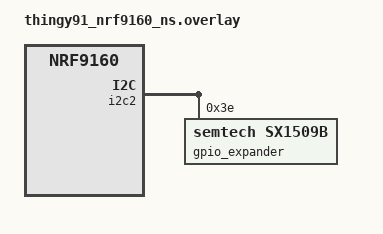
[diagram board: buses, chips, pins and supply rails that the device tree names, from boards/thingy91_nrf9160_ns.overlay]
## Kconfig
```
#
# Copyright (c) 2020 Nordic Semiconductor ASA
#
# SPDX-License-Identifier: LicenseRef-Nordic-5-Clause
#

menu "UDP Data Settings"

config UDP_DATA_UPLOAD_FREQUENCY_SECONDS
	int "How often data is transmitted to the server"
	default 900

config UDP_SERVER_ADDRESS_STATIC
	string "UDP server IP address"
	default "8.8.8.8"

config UDP_SERVER_PORT
	int "UDP server port number"
	default "2469"

config UDP_PSM_ENABLE
	bool "Enable LTE Power Saving Mode"
	default y

config UDP_EDRX_ENABLE
	bool "Enable LTE enhanced Discontinuous Reception"

config UDP_RAI_ENABLE
	bool "Enable LTE Release Assistance Indication"

endmenu

menu "GPIO Settings"
config GPIO_POLL_FREQUENCY_SECONDS
	int "How often data are polled from GPIO Expander"
	default 5
endmenu

menu "Sensor UI Module"
rsource "src/ui/Kconfig"
endmenu

module = UDP
module-str = UDP sample
source "${ZEPHYR_BASE}/subsys/logging/Kconfig.template.log_config"

menu "Zephyr Kernel"
source "Kconfig.zephyr"
endmenu
```

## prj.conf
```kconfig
#
# Copyright (c) 2020 Nordic Semiconductor ASA
#
# SPDX-License-Identifier: LicenseRef-Nordic-5-Clause
#

# General config
CONFIG_NEWLIB_LIBC=y
CONFIG_NEWLIB_LIBC_FLOAT_PRINTF=y
CONFIG_NCS_SAMPLES_DEFAULTS=y
CONFIG_SERIAL=y
CONFIG_ASSERT=n

# Network
CONFIG_NETWORKING=y
CONFIG_NET_NATIVE=n
CONFIG_NET_SOCKETS=y
CONFIG_NET_SOCKETS_OFFLOAD=y

# LTE link control
CONFIG_LTE_LINK_CONTROL=y
CONFIG_LTE_AUTO_INIT_AND_CONNECT=n

# Modem libraries to include
CONFIG_NRF_MODEM_LIB=y
CONFIG_AT_HOST_LIBRARY=y
CONFIG_MODEM_INFO=y

# Heap and stacks
CONFIG_HEAP_MEM_POOL_SIZE=1024
CONFIG_MAIN_STACK_SIZE=4096
CONFIG_SYSTEM_WORKQUEUE_STACK_SIZE=2048

# LTE parameters
## Network Mode / LTE category
CONFIG_LTE_NETWORK_MODE_NBIOT=y
CONFIG_LTE_NETWORK_MODE_LTE_M=n

## PSM
CONFIG_UDP_PSM_ENABLE=y
# RPTAU=001|00001 => 1h * 3 => 3h
CONFIG_LTE_PSM_REQ_RPTAU="00100011"
# RAT=000|00001 => 2s * 3 => 6s
CONFIG_LTE_PSM_REQ_RAT="00000011"

## eDRX
CONFIG_UDP_EDRX_ENABLE=n
# PTW=0001 => 5.12s
CONFIG_LTE_PTW_VALUE_NBIOT="0001"
# EDRX=0001 => 10.24s
CONFIG_LTE_EDRX_REQ_VALUE_NBIOT="0001"

## RAI
CONFIG_UDP_RAI_ENABLE=n
CONFIG_LTE_RAI_REQ_VALUE="4"

# UDP Data
CONFIG_UDP_SERVER_ADDRESS_STATIC="172.27.131.100"
CONFIG_UDP_SERVER_PORT=15683
CONFIG_UDP_DATA_UPLOAD_FREQUENCY_SECONDS=60

# GPIO
CONFIG_GPIO_POLL_FREQUENCY_SECONDS=1

# Enable Zephyr Sensor Libraries
CONFIG_I2C=y
CONFIG_SENSOR=y
CONFIG_BME680=y
CONFIG_DK_LIBRARY=y

# UI Config Settings
CONFIG_UI_BUZZER=y
CONFIG_UI_BUZZER_PWM_DEV_NAME="PWM_1"
CONFIG_UI_BUZZER_PIN=28
CONFIG_UI_BUZZER_MIN_FREQUENCY=100
CONFIG_UI_BUZZER_MAX_FREQUENCY=10000

CONFIG_UI_LED_USE_PWM=y
```

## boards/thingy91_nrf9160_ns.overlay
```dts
&i2c2 {
	gpio@3E {
        compatible="semtech,sx1509b";
        reg=<0x3E>;
        label="gpio_expander";
        ngpios = < 16 >;
        #gpio-cells = < 2 >;
        gpio-controller;
    };
};
```

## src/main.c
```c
/*
 * Copyright (c) 2020 Nordic Semiconductor ASA
 *
 * SPDX-License-Identifier: LicenseRef-Nordic-5-Clause
 */

#include <zephyr.h>
#include <stdio.h>
#include <modem/lte_lc.h>	  // LTE link control
#include <nrf_modem_at.h>	  // includes AT command handling
#include <modem/modem_info.h> // includes modem info module
#include <net/socket.h>		  // includes TCP/IP socket handling
#include <device.h>			  // Zephyr device API
#include <drivers/sensor.h>	  // Zephyr sensor driver API
#include <drivers/gpio.h>
#include <sys_clock.h>

/* UI drivers for Thingy:91 */
#include "buzzer.h"
#include "ui.h"
#include "led_pwm.h"

/* Defines */
#define MODEM_APN "cdp.iot.t-mobile.nl"
#define TEMP_CALIBRATION_OFFSET 3
#define RECV_BUF_SIZE 2048
#define RCV_POLL_TIMEOUT_MS 1000 /* Milliseconds */

/* Sensor data */
const struct device *bme_680;
struct sensor_value temp, press, humidity, gas_res;
float pressure;

/* GPIO */
const struct device *sx1509b_dev;

#define GPIO_PIN_OPEN_ENDSTOP 15
#define GPIO_PIN_CLOSED_ENDSTOP 14
#define GPIO_PIN_RELAY 13

/* Ultrasonic */
#define GPIO_PIN_ULTRASONIC_TRIG 12
#define GPIO_PIN_ULTRASONIC_ECHO 11

/* UDP Socket */
static int client_fd;
static bool socket_init = false;
static bool socket_open = false;
static struct sockaddr_storage host_addr;

/* Workqueues */
static struct k_work_delayable server_transmission_work;
static struct k_work_delayable data_fetch_work;
static struct k_work_delayable data_poll_work;
static struct k_work_delayable gpio_fetch_work;

/* Garage Door state */
#define GARAGE_DOOR_OPENING 1
#define GARAGE_DOOR_OPEN 2
#define GARAGE_DOOR_CLOSING 3
#define GARAGE_DOOR_CLOSED 4
#define GARAGE_DOOR_STALLED 5
#define GARAGE_DOOR_FAILED -1
static int garage_door_state = GARAGE_DOOR_STALLED;
static int garage_door_prev_state = GARAGE_DOOR_STALLED;
static int garage_door_seconds_since_last_certain_state = 0;
#define GARAGE_DOOR_MAX_MOVE_TIME 25 // how many periods (CONFIG_GPIO_POLL_FREQUENCY_SECONDS) has to pass

/* Car presence */
#define CAR_PRESENCE_TRESHOLD 120
#define CAR_PRESENCE_YES 1
#define CAR_PRESENCE_NO 0
#define CAR_PRESENCE_FAILED -1
static int car_presence_state = CAR_PRESENCE_FAILED;
static int car_presence_prev_state = CAR_PRESENCE_FAILED;

K_SEM_DEFINE(lte_connected, 0, 1);
struct modem_param_info modem_param;

static char recv_buf[RECV_BUF_SIZE];

static int server_init(void)
{
	struct sockaddr_in *server4 = ((struct sockaddr_in *)&host_addr);

	server4->sin_family = AF_INET;
	server4->sin_port = htons(CONFIG_UDP_SERVER_PORT);

	inet_pton(AF_INET, CONFIG_UDP_SERVER_ADDRESS_STATIC,
			  &server4->sin_addr);

	socket_init = true;
	return 0;
}

static void server_disconnect(void)
{
	socket_open = false;
	(void)close(client_fd);
}

static int server_connect(void)
{
	int err;

	client_fd = socket(AF_INET, SOCK_DGRAM, IPPROTO_UDP);
	if (client_fd < 0)
	{
		ui_led_set_effect(UI_LED_ERROR_CLOUD);
		printk("[ERROR] Failed to create UDP socket: %d\n", errno);
		err = -errno;
		goto error;
	}

	err = connect(client_fd, (struct sockaddr *)&host_addr,
				  sizeof(struct sockaddr_in));
	if (err < 0)
	{
		ui_led_set_effect(UI_LED_ERROR_CLOUD);
		printk("[ERROR] Connect failed : %d\n", errno);
		goto error;
	}
	socket_open = true;
	return 0;

error:
	server_disconnect();

	return err;
}

static bool server_reconnect(void)
{
	printk("[INFO] Reconnecting to UDP server\n");
	server_disconnect();

	int err = server_connect();
	if (err)
	{
		ui_led_set_effect(UI_LED_ERROR_CLOUD);
		printk("[ERROR] Not able to reconnect to UDP server\n");
		return false;
	}
	return true;
}

static void transmit_udp_data(char *data, size_t len)
{
	int err;
	if (data != NULL)
	{
		printk("[INFO] Sending UDP payload, length: %u, data: %s\n", len, data);
		err = send(client_fd, data, len, 0);
		if (err == -ENOTCONN && server_reconnect())
		{
			err = send(client_fd, data, len, 0);
		}

		if (err < 0)
		{
			ui_led_set_effect(UI_LED_ERROR_CLOUD);
			printk("[ERROR] Failed to transmit UDP packet, %d\n", errno);
		}
	}
}

/*
 * *** Static functions of main.c ***
 */
static void fetch_sensor_data(void)
{
	sensor_sample_fetch(bme_680);
	sensor_channel_get(bme_680, SENSOR_CHAN_AMBIENT_TEMP, &temp);
	sensor_channel_get(bme_680, SENSOR_CHAN_PRESS, &press);
	sensor_channel_get(bme_680, SENSOR_CHAN_HUMIDITY, &humidity);
	sensor_channel_get(bme_680, SENSOR_CHAN_GAS_RES, &gas_res);

	/* apply calibration offsets */
	temp.val1 = temp.val1 - TEMP_CALIBRATION_OFFSET;

	/* Debug print raw sensor data from Zephyr API */
	// printk("[DEBUG] T: %d.%06d; P: %d.%06d; H: %d.%06d; G: %d.%06d\n",
	// 	temp.val1, temp.val2, press.val1, press.val2,
	// 	humidity.val1, humidity.val2, gas_res.val1,
	// 	gas_res.val2);

	/* format data, shrink factional part length of sensor_value to 2 digits */
	temp.val2 = temp.val2 / 10000;
	humidity.val2 = humidity.val2 / 10000;

	/* convert pressure in Bar - sensor_value struct stores 2 integers (dec + fraction) */
	pressure = (float)press.val1 + (float)press.val2 / 1000000; // reformat to float for conversion
	pressure = pressure / 100;									// convert in Bar, but skip storing back into integer parts
}

static void fetch_ultrasonic_data(void)
{
	uint32_t cycles_spent;
	uint32_t val;
	uint32_t stop_time;
	uint32_t start_time;
	uint32_t iter = 0;
	int distance;

	car_presence_prev_state = car_presence_state;

	gpio_pin_set(sx1509b_dev, GPIO_PIN_ULTRASONIC_TRIG, 1);
	k_sleep(K_MSEC(10));
	gpio_pin_set(sx1509b_dev, GPIO_PIN_ULTRASONIC_TRIG, 0);

	do
	{
		iter++;
		val = gpio_pin_get(sx1509b_dev, GPIO_PIN_ULTRASONIC_ECHO);
	} while (val == 0 && iter < 1000);

	if (iter >= 1000)
	{
		ui_led_set_effect(UI_LED_ERROR_UNKNOWN);
		printk("[ERROR] No reponse from HC-SR04\n");
		car_presence_state = CAR_PRESENCE_FAILED;
		return;
	}

	start_time = k_cycle_get_32();

	do
	{
		val = gpio_pin_get(sx1509b_dev, GPIO_PIN_ULTRASONIC_ECHO);
		stop_time = k_cycle_get_32();
		cycles_spent = stop_time - start_time;
		if (cycles_spent > 5000)
		{
			ui_led_set_effect(UI_LED_ERROR_UNKNOWN);
			printk("[ERROR] No reponse from HC-SR04\n");
			car_presence_state = CAR_PRESENCE_FAILED;
			return;
		}
	} while (val == 1);

	distance = SYS_CLOCK_HW_CYCLES_TO_NS_AVG(cycles_spent, 58000); // in centimeters
	car_presence_state = distance > CAR_PRESENCE_TRESHOLD ? CAR_PRESENCE_NO : CAR_PRESENCE_YES;

	if (car_presence_state != car_presence_prev_state)
	{
		printk("[DEBUG] car_presence_state has changed from %d to %d (distance=%d)\n",
			   car_presence_prev_state, car_presence_state, distance);

		/* Transmit garage via UDP Socket  */
		char data_output[128];
		sprintf(data_output, "{\"Car\":%d}", car_presence_state);
		transmit_udp_data(data_output, strlen(data_output));
	}
}

static void fetch_gpio_data(void)
{
	garage_door_prev_state = garage_door_state;

	int open_endstop_state = gpio_pin_get(sx1509b_dev, GPIO_PIN_OPEN_ENDSTOP);
	int closed_endstop_state = gpio_pin_get(sx1509b_dev, GPIO_PIN_CLOSED_ENDSTOP);

	if (open_endstop_state < 0 || closed_endstop_state < 0)
	{
		ui_led_set_effect(UI_LED_ERROR_UNKNOWN);
		printk("[ERROR] gpio_pin_get for sx1509b_dev failed\n");
		garage_door_state = GARAGE_DOOR_FAILED;
		return;
	}

	// printk("[DEBUG] open_endstop: %d, closed_endstop: %d\n",
	//	   open_endstop_state, closed_endstop_state);

	if (open_endstop_state == 1 && closed_endstop_state == 0)
	{
		garage_door_state = GARAGE_DOOR_OPEN;
		garage_door_seconds_since_last_certain_state = 0;
	}
	else if (open_endstop_state == 0 && closed_endstop_state == 1)
	{
		garage_door_state = GARAGE_DOOR_CLOSED;
		garage_door_seconds_since_last_certain_state = 0;
	}
	else if (open_endstop_state == 0 && closed_endstop_state == 0)
	{
		garage_door_seconds_since_last_certain_state += 1;
		if (garage_door_seconds_since_last_certain_state > GARAGE_DOOR_MAX_MOVE_TIME)
		{
			garage_door_state = GARAGE_DOOR_STALLED;
		}
		else
		{
			if (garage_door_prev_state == GARAGE_DOOR_OPEN || garage_door_prev_state == GARAGE_DOOR_CLOSING)
			{
				garage_door_state = GARAGE_DOOR_CLOSING;
			}
			else if (garage_door_prev_state == GARAGE_DOOR_CLOSED || garage_door_prev_state == GARAGE_DOOR_OPENING)
			{
				garage_door_state = GARAGE_DOOR_OPENING;
			}
		}
	}
	else
	{
		// open and close at the same time - impossible
		garage_door_state = GARAGE_DOOR_FAILED;
	}

	if (garage_door_state != garage_door_prev_state)
	{
		printk("[DEBUG] garage_door_state has changed from %d to %d\n",
			   garage_door_prev_state, garage_door_state);

		/* Transmit garage via UDP Socket  */
		char data_output[128];
		sprintf(data_output, "{\"Door\":%d}", garage_door_state);
		transmit_udp_data(data_output, strlen(data_output));
	}
}

static void click_garage_door_relay(void)
{
	printk("[DEBUG] garage door relay ON\n");
	gpio_pin_set(sx1509b_dev, GPIO_PIN_RELAY, 1);
	k_sleep(K_MSEC(500));
	printk("[DEBUG] garage door relay OFF\n");
	gpio_pin_set(sx1509b_dev, GPIO_PIN_RELAY, 0);
}

static int receive_udp_data(char *buf, int buf_size)
{
	int bytes;
	bytes = recv(client_fd, buf, buf_size, 0);
	if (bytes == -ENOTCONN && server_reconnect())
	{
		bytes = recv(client_fd, buf, buf_size, 0);
	}

	if (bytes < 0)
	{
		ui_led_set_effect(UI_LED_ERROR_CLOUD);
		printk("[ERROR] recv() failed, err %d\n", errno);
	}
	else if (bytes > 0)
	{
		// Make sure buf is NULL terminated (for safe use)
		if (bytes < buf_size)
		{
			buf[bytes] = '\0';
		}
		else
		{
			buf[buf_size - 1] = '\0';
		}
		printk("[DEBUG] Recived UDP data, length: %u, data: %s\n", bytes, buf);
		return bytes;
	}
	return 0;
}

/* Event Handler - used when pressing the button */
static void ui_evt_handler(struct ui_evt evt)
{
	if (evt.type == 1)
	{
		if (socket_open)
		{
			char data_output[128];
			sprintf(data_output, "{\"Door\":%d,\"Btn\":1}", garage_door_state);
			transmit_udp_data(data_output, strlen(data_output));
			click_garage_door_relay();
		}
	}
}

/* Event Handler - used when data received via UDP */
static void udp_evt_handler(char *buf)
{
	printk("[DEBUG] Handling UDP data, data: %s\n", buf);

	if (strcmp(buf, "garage-door-open") == 0)
	{
		if (garage_door_state == GARAGE_DOOR_CLOSED)
		{
			click_garage_door_relay();
		}
		else
		{
			printk("[WARN] Ignoring the open action because the garage door is not closed\n");
		}
	}
	else if (strcmp(buf, "garage-door-close") == 0)
	{
		if (garage_door_state == GARAGE_DOOR_OPEN)
		{
			click_garage_door_relay();
		}
		else
		{
			printk("[WARN] Ignoring the close action because the garage door is not open\n");
		}
	}
	else if (strcmp(buf, "garage-door-click") == 0)
	{
		click_garage_door_relay();
	}
}

static void data_fetch_work_fn(struct k_work *work)
{
	/* Update sensor + modem data */
	fetch_sensor_data();
	modem_info_params_get(&modem_param);

	/* Reschedule work task */
	k_work_schedule(&data_fetch_work, K_SECONDS(CONFIG_UDP_DATA_UPLOAD_FREQUENCY_SECONDS));
}

static void data_poll_work_fn(struct k_work *work)
{
	if (socket_open)
	{
		struct pollfd fds[1];
		int ret = 0;

		fds[0].fd = client_fd;
		fds[0].events = POLLIN;
		fds[0].revents = 0;

		printk("[DEBUG] Polling UDP socket\n");
		ret = poll(fds, 1, RCV_POLL_TIMEOUT_MS);
		if (ret == -ENOTCONN && server_reconnect())
		{
			ret = poll(fds, 1, RCV_POLL_TIMEOUT_MS);
		}

		if (ret > 0)
		{
			int bytes;
			bytes = receive_udp_data(recv_buf, RECV_BUF_SIZE);
			if (bytes > 0)
			{
				udp_evt_handler(recv_buf);
			}
		}
	}
}

static void gpio_fetch_work_fn(struct k_work *work)
{
	fetch_gpio_data();
	fetch_ultrasonic_data();

	/* Reschedule work task */
	k_work_schedule(&gpio_fetch_work, K_SECONDS(CONFIG_GPIO_POLL_FREQUENCY_SECONDS));
}

static void initial_data_transmission(void)
{
	/* Get current modem parameters */
	modem_info_params_get(&modem_param);
	char data_output[128];
	char imei[16];
	char operator[8];
	modem_info_string_get(MODEM_INFO_IMEI, imei, sizeof(imei));
	modem_info_string_get(MODEM_INFO_OPERATOR, operator, sizeof(operator));

	/* format to JSON */
	sprintf(data_output, "{\"Msg\":\"reconnected, %s, %s, %d\",\"Oper\":\"%s\",\"Bd\":%d}",
			imei, operator, modem_param.network.current_band.value, operator, modem_param.network.current_band.value);
	/* Transmit data via UDP Socket */
	transmit_udp_data(data_output, strlen(data_output));
	k_work_schedule(&data_poll_work, K_MSEC(500));
}

static void server_transmission_work_fn(struct k_work *work)
{
	/* Format sensor data to JSON */
	char data_output[128];

	/* format to JSON */
	sprintf(data_output, "{\"Temp\":%d.%02d,\"Press\":%.4f,\"Humid\":%d.%02d,\"Gas\":%d,\"Vbat\":%d,\"Door\":%d,\"Car\":%d}",
			temp.val1, temp.val2, pressure,
			humidity.val1, humidity.val2, gas_res.val1, modem_param.device.battery.value,
			garage_door_state, car_presence_state);

	/* Transmit data via UDP Socket */
	transmit_udp_data(data_output, strlen(data_output));

	/* Reschedule work task */
	k_work_schedule(&server_transmission_work, K_SECONDS(CONFIG_UDP_DATA_UPLOAD_FREQUENCY_SECONDS));
}

static void work_init(void)
{
	k_work_init_delayable(&server_transmission_work, server_transmission_work_fn);
	k_work_init_delayable(&data_fetch_work, data_fetch_work_fn);
	k_work_init_delayable(&data_poll_work, data_poll_work_fn);
	k_work_init_delayable(&gpio_fetch_work, gpio_fetch_work_fn);
}

#if defined(CONFIG_NRF_MODEM_LIB)
static void lte_handler(const struct lte_lc_evt *const evt)
{
	switch (evt->type)
	{
	case LTE_LC_EVT_NW_REG_STATUS:
		if ((evt->nw_reg_status != LTE_LC_NW_REG_REGISTERED_HOME) &&
			(evt->nw_reg_status != LTE_LC_NW_REG_REGISTERED_ROAMING))
		{
			socket_open = false;
			ui_led_set_effect(UI_LTE_CONNECTING);
			break;
		}
		printk("[LTE] Network registration status: %s\n",
			   evt->nw_reg_status == LTE_LC_NW_REG_REGISTERED_HOME ? "Connected - home network" : "Connected - roaming");
		k_sem_give(&lte_connected);
		ui_led_set_effect(UI_LTE_CONNECTED);
		if (socket_init && !socket_open)
		{
			server_reconnect();
		}
		break;
	case LTE_LC_EVT_PSM_UPDATE:
		printk("[LTE] PSM parameter update: TAU: %d, Active time: %d\n",
			   evt->psm_cfg.tau, evt->psm_cfg.active_time);
		break;
	case LTE_LC_EVT_EDRX_UPDATE:
	{
		char log_buf[60];
		ssize_t len;

		len = snprintf(log_buf, sizeof(log_buf),
					   "[LTE] eDRX parameter update: eDRX: %f, PTW: %f\n",
					   evt->edrx_cfg.edrx, evt->edrx_cfg.ptw);
		if (len > 0)
		{
			printk("%s\n", log_buf);
		}
		break;
	}
	case LTE_LC_EVT_RRC_UPDATE:
		printk("[LTE] RRC mode: %s\n",
			   evt->rrc_mode == LTE_LC_RRC_MODE_CONNECTED ? "Connected" : "Idle");

		if (evt->rrc_mode == LTE_LC_RRC_MODE_CONNECTED)
		{
			k_work_schedule(&data_poll_work, K_MSEC(500));
		}
		break;
	case LTE_LC_EVT_CELL_UPDATE:
		printk("[LTE] LTE cell changed: Cell ID: %d, Tracking area: %d\n",
			   evt->cell.id, evt->cell.tac);
		break;
	case LTE_LC_EVT_LTE_MODE_UPDATE:
		printk("[LTE] LTE mode: %s\n",
			   evt->lte_mode == LTE_LC_LTE_MODE_LTEM ? "LTE-M" : "NB-IoT");
	default:
		// printk("[DEBUG] unknown event type: %d\n", evt->type);
		break;
	}
}

static int configure_low_power(void)
{
	int err;

#if defined(CONFIG_UDP_PSM_ENABLE)
	/** Power Saving Mode */
	err = lte_lc_psm_req(true);
	if (err)
	{
		ui_led_set_effect(UI_LED_ERROR_LTE_LC);
		printk("[ERROR] lte_lc_psm_req, error: %d\n", err);
	}
#else
	err = lte_lc_psm_req(false);
	if (err)
	{
		ui_led_set_effect(UI_LED_ERROR_LTE_LC);
		printk("[ERROR] lte_lc_psm_req, error: %d\n", err);
	}
#endif

#if defined(CONFIG_UDP_EDRX_ENABLE)
	/** enhanced Discontinuous Reception */
	err = lte_lc_edrx_req(true);
	if (err)
	{
		ui_led_set_effect(UI_LED_ERROR_LTE_LC);
		printk("[ERROR] lte_lc_edrx_req, error: %d\n", err);
	}
#else
	err = lte_lc_edrx_req(false);
	if (err)
	{
		ui_led_set_effect(UI_LED_ERROR_LTE_LC);
		printk("[ERROR] lte_lc_edrx_req, error: %d\n", err);
	}
#endif

#if defined(CONFIG_UDP_RAI_ENABLE)
	/** Release Assistance Indication  */
	err = lte_lc_rai_req(true);
	if (err)
	{
		ui_led_set_effect(UI_LED_ERROR_LTE_LC);
		printk("[ERROR] lte_lc_rai_req, error: %d\n", err);
	}
#endif

	return err;
}

static void modem_init(void)
{
	int err;
	char response[128];

	if (IS_ENABLED(CONFIG_LTE_AUTO_INIT_AND_CONNECT))
	{
		/* Do nothing, modem is already configured and LTE connected. */
	}
	else
	{
		err = lte_lc_init();
		if (err)
		{
			ui_led_set_effect(UI_LED_ERROR_LTE_LC);
			printk("[ERROR] Modem initialization failed, error: %d\n", err);
			return;
		}

		/* Enable 3GGP CME error codes*/
		nrf_modem_at_printf("AT+CMEE=%d", 1);
		/* Read out Modem IMEI */
		printk("[INFO] Read Modem IMEI\n");
		err = nrf_modem_at_cmd(response, sizeof(response), "AT+CGSN=%d", 1);
		if (err)
		{
			ui_led_set_effect(UI_LED_ERROR_LTE_LC);
			printk("[ERROR] Read Modem IMEI failed, err %d\n", err);
			return;
		}
		else
		{
			printk("[AT] %s\n", response);
		}

		/* Setup APN for the PDP Context */
		printk("[INFO] Setting up the APN\n");
		char *apn_stat = "AT%XAPNSTATUS=1,\"" MODEM_APN "\"";
		char *at_cgdcont = "AT+CGDCONT=0,\"IPV4V6\",\"" MODEM_APN "\"";
		nrf_modem_at_printf(apn_stat);		   // allow use of APN
		err = nrf_modem_at_printf(at_cgdcont); // use conf. APN for PDP context 0 (default LTE bearer)
		if (err)
		{
			ui_led_set_effect(UI_LED_ERROR_LTE_LC);
			printk("[ERROR] AT+CGDCONT set cmd failed, err %d\n", err);
			return;
		}
		err = nrf_modem_at_cmd(response, sizeof(response), "AT+CGDCONT?", NULL);
		if (err)
		{
			ui_led_set_effect(UI_LED_ERROR_LTE_LC);
			printk("[ERROR] APN check failed, err %d\n", err);
			return;
		}
		else
		{
			printk("[AT] %s\n", response);
		}
		/* Init modem info module */
		modem_info_init();
		modem_info_params_init(&modem_param);
	}
}

static void modem_connect(void)
{
	int err;

	if (IS_ENABLED(CONFIG_LTE_AUTO_INIT_AND_CONNECT))
	{
		/* Do nothing, modem is already configured and LTE connected. */
	}
	else
	{
		err = lte_lc_connect_async(lte_handler);
		if (err)
		{
			ui_led_set_effect(UI_LED_ERROR_LTE_LC);
			printk("[ERROR] Connecting to LTE network failed, error: %d\n",
				   err);
			return;
		}
	}
}
#endif

/*
 * *** Main Applicatin Entry ***
 */
void main(void)
{
	int err;

	// some dalay so that we can connect with serial port and read debugging messages from the start
	k_sleep(K_SECONDS(5));

	printk("\n*** Garage Door ***\n");

	/* Init routines */
	ui_init(ui_evt_handler);
	ui_led_set_effect(UI_LTE_CONNECTING);
	bme_680 = device_get_binding(DT_LABEL(DT_INST(0, bosch_bme680)));

	sx1509b_dev = device_get_binding(DT_LABEL(DT_INST(0, semtech_sx1509b)));

	if (!device_is_ready(sx1509b_dev))
	{
		ui_led_set_effect(UI_LED_ERROR_UNKNOWN);
		printk("[ERROR] sx1509b device is not ready\n");
		return;
	}

	gpio_pin_configure(sx1509b_dev, GPIO_PIN_OPEN_ENDSTOP, GPIO_INPUT | GPIO_PULL_UP | GPIO_ACTIVE_LOW);
	gpio_pin_configure(sx1509b_dev, GPIO_PIN_CLOSED_ENDSTOP, GPIO_INPUT | GPIO_PULL_UP | GPIO_ACTIVE_LOW);
	gpio_pin_configure(sx1509b_dev, GPIO_PIN_RELAY, GPIO_OUTPUT_LOW);

	gpio_pin_configure(sx1509b_dev, GPIO_PIN_ULTRASONIC_TRIG, GPIO_OUTPUT);
	gpio_pin_configure(sx1509b_dev, GPIO_PIN_ULTRASONIC_ECHO, GPIO_INPUT | GPIO_PULL_DOWN | GPIO_ACTIVE_HIGH);

	k_sleep(K_MSEC(1)); /* Wait for the i2c rail to come up and stabilize */

	work_init();

	/* Initialize the modem before calling configure_low_power(). This is
	 * because the enabling of RAI is dependent on the
	 * configured network mode which is set during modem initialization.
	 */
	modem_init();
	err = configure_low_power();
	if (err)
	{
		ui_led_set_effect(UI_LED_ERROR_LTE_LC);
		printk("[ERROR] Unable to set low power configuration, error: %d\n", err);
	}

	modem_connect();
	k_sem_take(&lte_connected, K_FOREVER);
	k_msleep(500);

	/* Init UDP Socket */
	err = server_init();
	if (err)
	{
		ui_led_set_effect(UI_LED_ERROR_CLOUD);
		printk("[ERROR] Not able to initialize UDP server connection\n");
		return;
	}

	/* Connect UDP Socket */
	err = server_connect();
	if (err)
	{
		ui_led_set_effect(UI_LED_ERROR_CLOUD);
		printk("[ERROR] Not able to connect to UDP server\n");
		return;
	}

	/* Perform initial data transmission & schedule periodic tasks */
	initial_data_transmission();
	k_work_schedule(&data_fetch_work, K_NO_WAIT);
	k_work_schedule(&gpio_fetch_work, K_NO_WAIT);
	k_work_schedule(&server_transmission_work, K_SECONDS(2));
}
```
